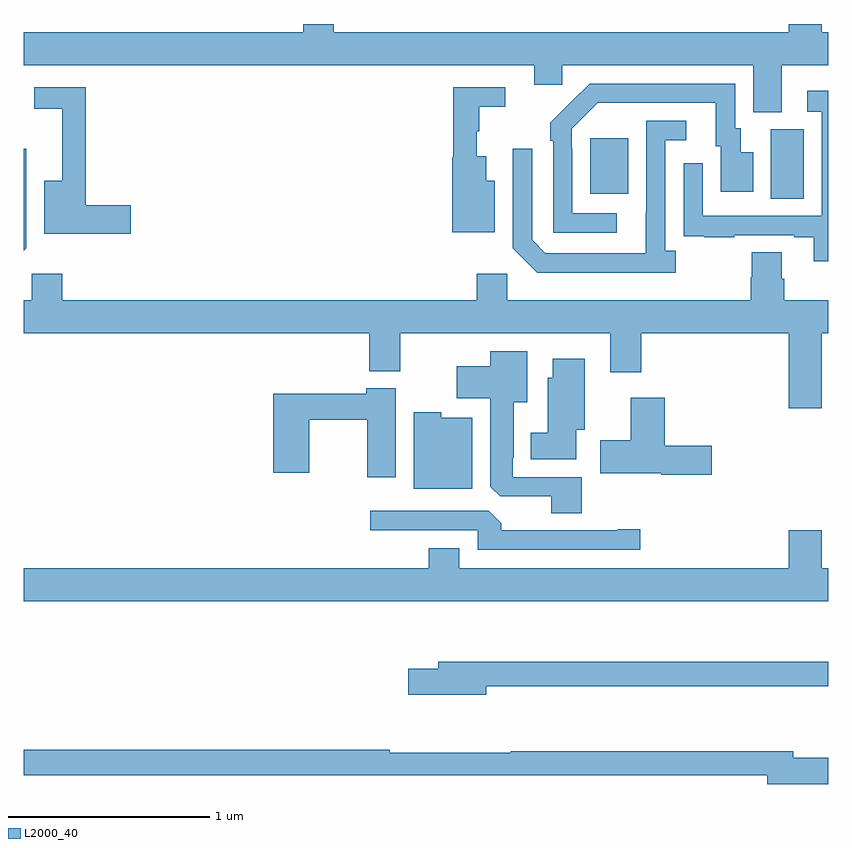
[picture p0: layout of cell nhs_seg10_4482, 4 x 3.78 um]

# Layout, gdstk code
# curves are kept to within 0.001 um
import gdstk
lib = gdstk.Library(unit=1e-6, precision=1e-09)
def R(c, l, rs):  # rectangles x0, y0, x1, y1
    for r in rs: c.add(gdstk.rectangle(r[:2], r[2:], *l))
def P(c, l, *ps):  # polygons
    for p in ps: c.add(gdstk.Polygon(p, *l))
L2000_40 = (2000, 40)

nhs_seg10_4482 = lib.new_cell('nhs_seg10_4482')
R(nhs_seg10_4482, L2000_40, [(368.714,1319.632,368.878,1319.976), (367.817,1319.657,368.005,1319.932)])
P(nhs_seg10_4482, L2000_40, [(366.39,1320.5),(366.39,1320.46),(365,1320.46),(365,1320.296),(367.538,1320.296),(367.538,1320.198),(367.677,1320.198),(367.677,1320.296),(368.627,1320.296),(368.627,1320.061),(368.767,1320.061),(368.767,1320.296),(369,1320.296),(369,1320.46),(368.968,1320.46),(368.968,1320.5),(368.804,1320.5),(368.804,1320.46),(366.542,1320.46),(366.542,1320.5)],
  [(367.948,1319.559),(367.728,1319.559),(367.728,1319.879),(367.725,1319.879),(367.725,1319.979),(367.854,1320.108),(368.441,1320.108),(368.441,1319.892),(368.465,1319.892),(368.465,1319.667),(368.626,1319.667),(368.626,1319.863),(368.563,1319.863),(368.563,1319.982),(368.538,1319.982),(368.538,1320.204),(367.814,1320.204),(367.617,1320.009),(367.617,1319.921),(367.632,1319.921),(367.632,1319.463),(367.948,1319.463)],
  [(365.533,1319.6),(365.309,1319.6),(365.309,1320.186),(365.052,1320.186),(365.052,1320.078),(365.192,1320.078),(365.192,1319.722),(365.102,1319.722),(365.102,1319.458),(365.533,1319.458)],
  [(367.342,1319.722),(367.3,1319.722),(367.3,1319.842),(367.253,1319.842),(367.253,1319.966),(367.264,1319.966),(367.264,1320.088),(367.393,1320.088),(367.393,1320.186),(367.135,1320.186),(367.135,1319.838),(367.13,1319.838),(367.13,1319.465),(367.342,1319.465)],
  [(369,1320.169),(368.895,1320.169),(368.895,1320.063),(368.967,1320.063),(368.967,1319.547),(368.376,1319.547),(368.376,1319.809),(368.28,1319.809),(368.28,1319.554),(368.281,1319.554),(368.281,1319.445),(368.383,1319.445),(368.383,1319.439),(368.531,1319.439),(368.531,1319.451),(368.831,1319.451),(368.831,1319.439),(368.927,1319.439),(368.927,1319.322),(369,1319.322)],
  [(368.242,1319.374),(368.19,1319.374),(368.19,1319.922),(368.293,1319.922),(368.293,1320.018),(368.094,1320.018),(368.093,1319.361),(367.593,1319.361),(367.527,1319.427),(367.527,1319.881),(367.431,1319.881),(367.431,1319.385),(367.552,1319.264),(368.242,1319.264)],
  [(365.013,1319.385),(365.013,1319.881),(365,1319.881),(365,1319.372)],
  [(368.968,1318.964),(369,1318.964),(369,1319.128),(368.78,1319.128),(368.78,1319.234),(368.767,1319.234),(368.767,1319.366),(368.62,1319.366),(368.62,1319.241),(368.615,1319.241),(368.615,1319.128),(367.404,1319.128),(367.404,1319.26),(367.253,1319.26),(367.253,1319.128),(365.192,1319.128),(365.192,1319.26),(365.04,1319.26),(365.04,1319.128),(365,1319.128),(365,1318.964),(366.719,1318.964),(366.719,1318.775),(366.871,1318.775),(366.871,1318.964),(367.916,1318.964),(367.916,1318.77),(368.069,1318.77),(368.069,1318.964),(368.804,1318.964),(368.804,1318.59),(368.968,1318.59)],
  [(367.775,1318.248),(367.431,1318.248),(367.431,1318.345),(367.435,1318.345),(367.435,1318.619),(367.504,1318.619),(367.504,1318.873),(367.319,1318.873),(367.319,1318.798),(367.152,1318.798),(367.152,1318.64),(367.319,1318.64),(367.319,1318.201),(367.368,1318.152),(367.622,1318.152),(367.622,1318.069),(367.775,1318.069)],
  [(367.747,1318.484),(367.789,1318.484),(367.789,1318.837),(367.631,1318.837),(367.631,1318.743),(367.604,1318.743),(367.604,1318.468),(367.52,1318.468),(367.52,1318.337),(367.747,1318.337)],
  [(366.85,1318.69),(366.704,1318.69),(366.704,1318.663),(366.242,1318.663),(366.242,1318.269),(366.42,1318.269),(366.42,1318.534),(366.709,1318.534),(366.709,1318.248),(366.85,1318.248)],
  [(368.419,1318.403),(368.186,1318.403),(368.186,1318.642),(368.018,1318.642),(368.018,1318.431),(367.866,1318.431),(367.866,1318.268),(368.169,1318.268),(368.169,1318.261),(368.419,1318.261)],
  [(367.231,1318.543),(367.077,1318.543),(367.077,1318.57),(366.938,1318.57),(366.938,1318.19),(367.231,1318.19)],
  [(368.065,1317.989),(367.952,1317.989),(367.952,1317.984),(367.373,1317.984),(367.373,1318.018),(367.311,1318.08),(366.723,1318.08),(366.723,1317.984),(367.257,1317.984),(367.257,1317.888),(368.065,1317.888)],
  [(367.013,1317.895),(367.013,1317.796),(365,1317.796),(365,1317.632),(369,1317.632),(369,1317.796),(368.968,1317.796),(368.968,1317.985),(368.804,1317.985),(368.804,1317.796),(367.165,1317.796),(367.165,1317.895)],
  [(367.3,1317.21),(369,1317.21),(369,1317.331),(367.061,1317.331),(367.061,1317.297),(366.912,1317.297),(366.912,1317.167),(367.3,1317.167)],
  [(369,1316.853),(368.824,1316.853),(368.824,1316.887),(367.42,1316.887),(367.42,1316.879),(366.82,1316.879),(366.82,1316.894),(365,1316.894),(365,1316.766),(368.696,1316.766),(368.696,1316.723),(369,1316.723)])

lib.write_gds('nhs_seg10_4482.gds')
